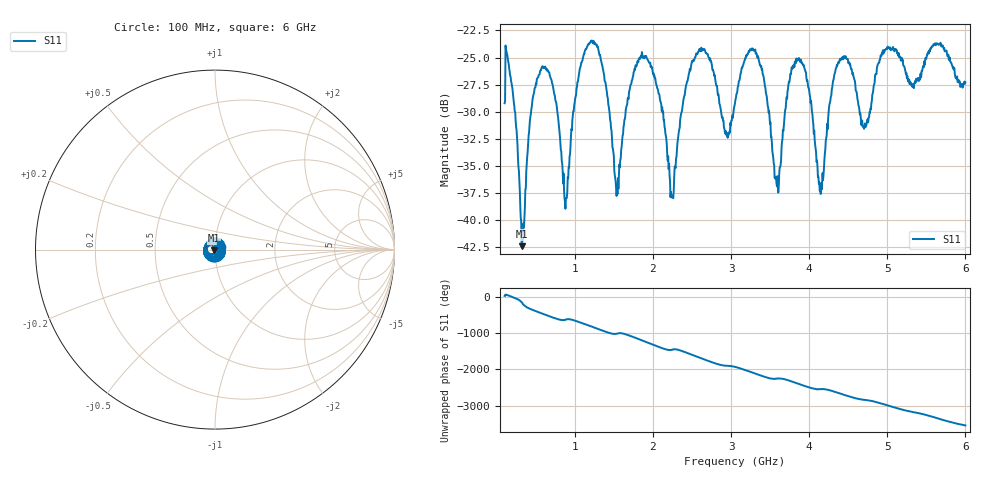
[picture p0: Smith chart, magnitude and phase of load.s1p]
# Hz S DB R 50
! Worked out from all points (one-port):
!   1001 points, 100 MHz to 6 GHz, reference 50 ohm
!   lowest |S11| = -42.4 dB at 318.3 MHz (marker M1), VSWR 1.02, Z = 49.3 - j0.313 ohm
!   |S11| at or under -10 dB: start of sweep to end of sweep
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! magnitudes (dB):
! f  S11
! 100 MHz  -29.2
! 206.2 MHz  -28.3
! 318.3 MHz  -42.4
! 454 MHz  -29.1
! 583.8 MHz  -25.8
! 837.5 MHz  -34.8
! 890.6 MHz  -37.9
! 1.05 GHz  -26.6
! 1.215 GHz  -23.4
! 1.575 GHz  -35.1
! 1.852 GHz  -24.9
! 2.076 GHz  -28.3
! 2.242 GHz  -37.7
! 2.312 GHz  -32.9
! 2.607 GHz  -24.4
! 2.938 GHz  -32.1
! 3.05 GHz  -29.2
! 3.321 GHz  -24.6
! 3.587 GHz  -36.9
! 3.788 GHz  -25.9
! 3.953 GHz  -26.3
! 4.147 GHz  -37.6
! 4.33 GHz  -26.4
! 4.525 GHz  -25.6
! 4.696 GHz  -31.4
! 4.962 GHz  -24.3
! 5.263 GHz  -27.1
! 6 GHz  -27.3
